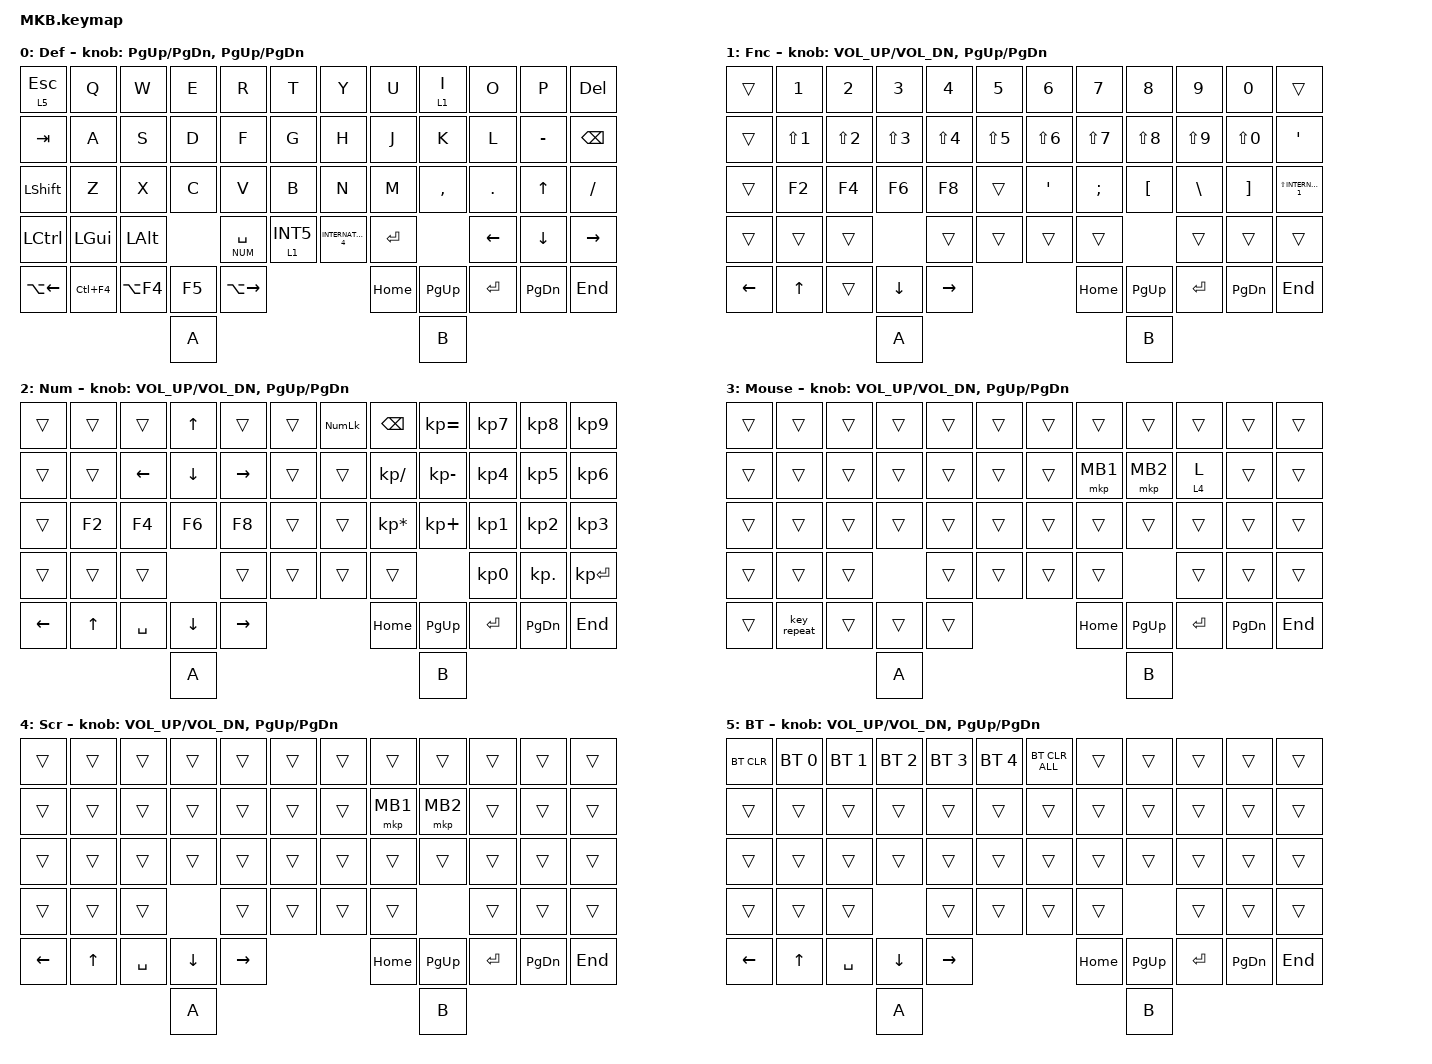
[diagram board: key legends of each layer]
// #include <layout_shift.dtsi>

#include <layout_shift_kp_override.dtsi>
#include <behaviors.dtsi>
#include <dt-bindings/zmk/bt.h>
#include <dt-bindings/zmk/keys.h>
#include <dt-bindings/zmk/pointing.h>

#define DEF 0
#define FUNC 1
#define NUM 2
#define MOUSE 3
#define SCROLL 4
#define BT 5

&mkp_input_listener { input-processors = <&zip_temp_layer 3 250>; };

&mt {
    flavor = "balanced";
    tapping-term-ms = <280>;
    quick-tap-ms = <175>;
    require-prior-idle-ms = <150>;
};

/ {
    combos {
        compatible = "zmk,combos";

        int4 {
            bindings = <&kp INTERNATIONAL_4>;
            key-positions = <41 40>;
        };

        mb3 {
            bindings = <&mkp MB3>;
            key-positions = <19 20>;
        };
    };

    keymap {
        compatible = "zmk,keymap";

        default_layer {
            label = "Def";
            bindings = <
&lt 5 ESC     &kp Q       &kp W       &kp E   &kp R          &kp T           &kp Y                &kp U      &lt 1 I    &kp O      &kp P      &kp DELETE
&kp TAB       &kp A       &kp S       &kp D   &kp F          &kp G           &kp H                &kp J      &kp K      &kp L      &kp MINUS  &kp BACKSPACE
&kp LSHFT     &kp Z       &kp X       &kp C   &kp V          &kp B           &kp N                &kp M      &kp COMMA  &kp DOT    &kp UP     &kp FSLH
&kp LCTRL     &kp LGUI    &kp LALT            &lt NUM SPACE  &lt 1 INT5      &kp INTERNATIONAL_4  &kp ENTER             &kp LEFT   &kp DOWN   &kp RIGHT
&kp LA(LEFT)  &kp LC(F4)  &kp LA(F4)  &kp F5  &kp LA(RIGHT)                                       &kp HOME   &kp PG_UP  &kp ENTER  &kp PG_DN  &kp END
                                      &kp A                                                                  &kp B
            >;

            sensor-bindings =
                <&inc_dec_kp PG_UP PG_DN>,
                <&inc_dec_kp PG_UP PG_DN>;
        };

        function_layer {
            label = "Fnc";
            bindings = <
&trans    &kp NUMBER_1      &kp NUMBER_2      &kp NUMBER_3      &kp NUMBER_4      &kp NUMBER_5          &kp NUMBER_6      &kp NUMBER_7      &kp NUMBER_8      &kp NUMBER_9      &kp NUMBER_0       &trans
&trans    &kp LS(NUMBER_1)  &kp LS(NUMBER_2)  &kp LS(NUMBER_3)  &kp LS(NUMBER_4)  &kp LS(NUMBER_5)      &kp LS(NUMBER_6)  &kp LS(NUMBER_7)  &kp LS(NUMBER_8)  &kp LS(NUMBER_9)  &kp LS(NUMBER_0)   &kp APOSTROPHE
&trans    &kp F2            &kp F4            &kp F6            &kp F8            &trans                &kp APOSTROPHE    &kp SEMICOLON     &kp LEFT_BRACKET  &kp BACKSLASH     &kp RIGHT_BRACKET  &kp LS(INTERNATIONAL_1)
&trans    &trans            &trans                              &trans            &trans                &trans            &trans                              &trans            &trans             &trans
&kp LEFT  &kp UP            &trans            &kp DOWN          &kp RIGHT                                                 &kp HOME          &kp PG_UP         &kp ENTER         &kp PG_DN          &kp END
                                              &kp A                                                                                         &kp B
            >;

            sensor-bindings = <&inc_dec_kp C_VOL_UP C_VOL_DN &inc_dec_kp PG_UP PG_DN>;
        };

        num_layer {
            label = "Num";
            bindings = <
&trans    &trans  &trans          &kp UP_ARROW    &trans           &trans      &kp KP_NUMLOCK  &kp BACKSPACE    &kp KP_EQUAL  &kp KP_NUMBER_7  &kp KP_NUMBER_8  &kp KP_NUMBER_9
&trans    &trans  &kp LEFT_ARROW  &kp DOWN_ARROW  &kp RIGHT_ARROW  &trans      &trans          &kp KP_SLASH     &kp KP_MINUS  &kp KP_NUMBER_4  &kp KP_NUMBER_5  &kp KP_NUMBER_6
&trans    &kp F2  &kp F4          &kp F6          &kp F8           &trans      &trans          &kp KP_ASTERISK  &kp KP_PLUS   &kp KP_NUMBER_1  &kp KP_NUMBER_2  &kp KP_NUMBER_3
&trans    &trans  &trans                          &trans           &trans      &trans          &trans                         &kp KP_NUMBER_0  &kp KP_DOT       &kp KP_ENTER
&kp LEFT  &kp UP  &kp SPACE       &kp DOWN        &kp RIGHT                                    &kp HOME         &kp PG_UP     &kp ENTER        &kp PG_DN        &kp END
                                  &kp A                                                                         &kp B
            >;

            sensor-bindings = <&inc_dec_kp C_VOL_UP C_VOL_DN &inc_dec_kp PG_UP PG_DN>;
        };

        mouse_layer {
            label = "Mouse";
            bindings = <
&trans  &trans       &trans  &trans  &trans  &trans      &trans  &trans    &trans     &trans     &trans     &trans
&trans  &trans       &trans  &trans  &trans  &trans      &trans  &mkp MB1  &mkp MB2   &lt 4 L    &trans     &trans
&trans  &trans       &trans  &trans  &trans  &trans      &trans  &trans    &trans     &trans     &trans     &trans
&trans  &trans       &trans          &trans  &trans      &trans  &trans               &trans     &trans     &trans
&trans  &key_repeat  &trans  &trans  &trans                      &kp HOME  &kp PG_UP  &kp ENTER  &kp PG_DN  &kp END
                             &kp A                                         &kp B
            >;

            sensor-bindings =
                <&inc_dec_kp C_VOL_UP C_VOL_DN>,
                <&inc_dec_kp PG_UP PG_DN>;
        };

        scroll_layer {
            label = "Scr";
            bindings = <
&trans    &trans  &trans     &trans    &trans     &trans      &trans  &trans    &trans     &trans     &trans     &trans
&trans    &trans  &trans     &trans    &trans     &trans      &trans  &mkp MB1  &mkp MB2   &trans     &trans     &trans
&trans    &trans  &trans     &trans    &trans     &trans      &trans  &trans    &trans     &trans     &trans     &trans
&trans    &trans  &trans               &trans     &trans      &trans  &trans               &trans     &trans     &trans
&kp LEFT  &kp UP  &kp SPACE  &kp DOWN  &kp RIGHT                      &kp HOME  &kp PG_UP  &kp ENTER  &kp PG_DN  &kp END
                             &kp A                                              &kp B
            >;

            sensor-bindings = <&inc_dec_kp C_VOL_UP C_VOL_DN &inc_dec_kp PG_UP PG_DN>;
        };

        bt_layer {
            label = "BT";
            bindings = <
&bt BT_CLR  &bt BT_SEL 0  &bt BT_SEL 1  &bt BT_SEL 2  &bt BT_SEL 3  &bt BT_SEL 4      &bt BT_CLR_ALL  &trans    &trans     &trans     &trans     &trans
&trans      &trans        &trans        &trans        &trans        &trans            &trans          &trans    &trans     &trans     &trans     &trans
&trans      &trans        &trans        &trans        &trans        &trans            &trans          &trans    &trans     &trans     &trans     &trans
&trans      &trans        &trans                      &trans        &trans            &trans          &trans               &trans     &trans     &trans
&kp LEFT    &kp UP        &kp SPACE     &kp DOWN      &kp RIGHT                                       &kp HOME  &kp PG_UP  &kp ENTER  &kp PG_DN  &kp END
                                        &kp A                                                                   &kp B
            >;

            sensor-bindings = <&inc_dec_kp C_VOL_UP C_VOL_DN &inc_dec_kp PG_UP PG_DN>;
        };
    };
};
